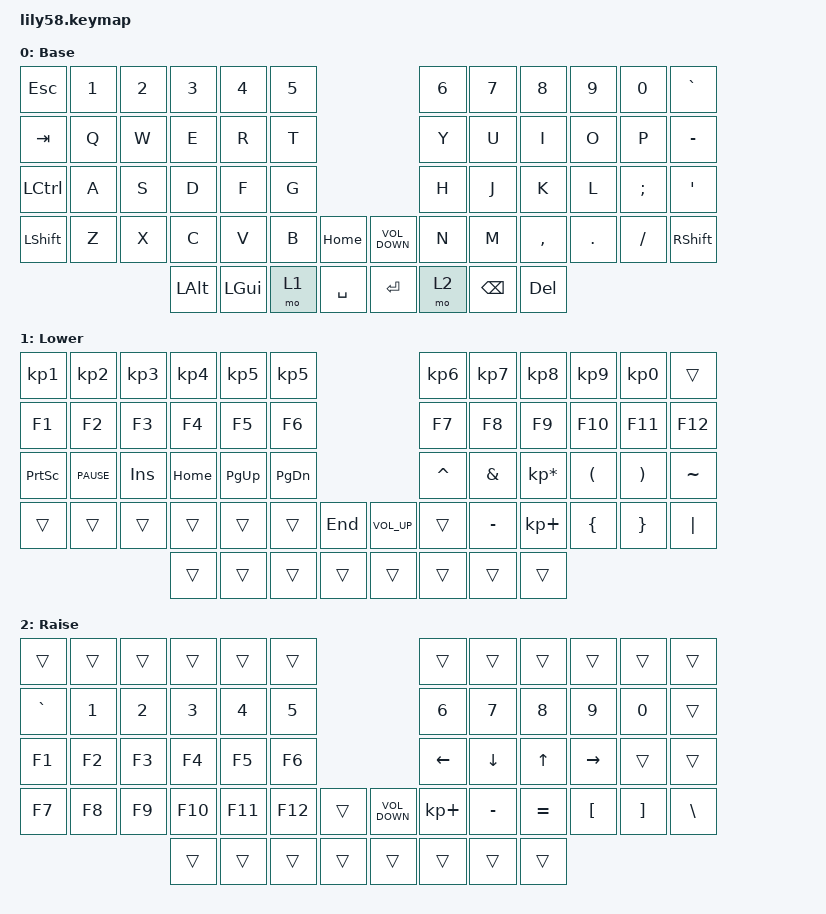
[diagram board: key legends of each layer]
/*
 * Copyright (c) 2020 The ZMK Contributors
 *
 * SPDX-License-Identifier: MIT
 */

#include <behaviors.dtsi>
#include <dt-bindings/zmk/keys.h>

/ {
    keymap {
        compatible = "zmk,keymap";

        default_layer {
            // ------------------------------------------------------------------------------------------------------------
            // |  ESC  |  1  |  2  |  3   |  4   |  5   |                   |  6   |  7    |  8    |  9   |   0   |   `   |
            // |  TAB  |  Q  |  W  |  E   |  R   |  T   |                   |  Y   |  U    |  I    |  O   |   P   |   -   |
            // |  CTRL |  A  |  S  |  D   |  F   |  G   |                   |  H   |  J    |  K    |  L   |   ;   |   '   |
            // | SHIFT |  Z  |  X  |  C   |  V   |  B   |   "["  |  |  "]"  |  N   |  M    |  ,    |  .   |   /   | SHIFT |
            //                     | ALT  | GUI  | LOWER|  SPACE |  | ENTER | RAISE| BSPC  | GUI   |

            display-name = "Base";
            bindings = <
&kp ESC    &kp N1  &kp N2  &kp N3    &kp N4    &kp N5                                  &kp N6  &kp N7    &kp N8      &kp N9   &kp N0    &kp GRAVE
&kp TAB    &kp Q   &kp W   &kp E     &kp R     &kp T                                   &kp Y   &kp U     &kp I       &kp O    &kp P     &kp MINUS
&kp LCTRL  &kp A   &kp S   &kp D     &kp F     &kp G                                   &kp H   &kp J     &kp K       &kp L    &kp SEMI  &kp SQT
&kp LSHFT  &kp Z   &kp X   &kp C     &kp V     &kp B   &kp HOME     &kp K_VOLUME_DOWN  &kp N   &kp M     &kp COMMA   &kp DOT  &kp FSLH  &kp RSHFT
                           &kp LALT  &kp LGUI  &mo 1   &kp SPACE    &kp RET            &mo 2   &kp BSPC  &kp DELETE
            >;
        };

        lower_layer {
            // ------------------------------------------------------------------------------------------------------------
            // | BTCLR | BT1 | BT2 |  BT3 |  BT4 |  BT5 |                   |      |       |       |      |       |       |
            // |  F1   |  F2 |  F3 |  F4  |  F5  |  F6  |                   |  F7  |  F8   |  F9   |  F10 |  F11  |  F12  |
            // |   `   |  !  |  @  |  #   |  $   |  %   |                   |  ^   |  &    |  *    |  (   |   )   |   ~   |
            // |       |     |     |      |      |      |        |  |       |      |  _    |  +    |  {   |   }   |  "|"  |
            //                     |      |      |      |        |  |       |      |       |       |

            display-name = "Lower";
            bindings = <
&kp KP_N1        &kp KP_N2    &kp KP_N3   &kp KP_NUMBER_4  &kp KP_N5    &kp KP_N5                                  &kp KP_N6  &kp KP_N7  &kp KP_N8        &kp KP_N9  &kp KP_N0  &trans
&kp F1           &kp F2       &kp F3      &kp F4           &kp F5       &kp F6                                     &kp F7     &kp F8     &kp F9           &kp F10    &kp F11    &kp F12
&kp PRINTSCREEN  &kp C_PAUSE  &kp INSERT  &kp HOME         &kp PAGE_UP  &kp PAGE_DOWN                              &kp CARET  &kp AMPS   &kp KP_MULTIPLY  &kp LPAR   &kp RPAR   &kp TILDE
&trans           &trans       &trans      &trans           &trans       &trans         &kp END    &kp K_VOLUME_UP  &trans     &kp MINUS  &kp KP_PLUS      &kp LBRC   &kp RBRC   &kp PIPE
                                          &trans           &trans       &trans         &trans     &trans           &trans     &trans     &trans
            >;
        };

        raise_layer {
            // ------------------------------------------------------------------------------------------------------------
            // |       |     |     |      |      |      |                   |      |       |       |      |       |       |
            // |   `   |  1  |  2  |  3   |  4   |  5   |                   |  6   |   7   |   8   |  9   |   0   |       |
            // |   F1  |  F2 |  F3 |  F4  |  F5  |  F6  |                   |      |   <-  |   v   |  ^   |  ->   |       |
            // |   F7  |  F8 |  F9 |  F10 |  F11 |  F12 |        |  |       |  +   |   -   |   =   |  [   |   ]   |   \   |
            //                     |      |      |      |        |  |       |      |       |       |

            display-name = "Raise";
            bindings = <
&trans     &trans  &trans  &trans   &trans   &trans                                &trans          &trans          &trans        &trans     &trans    &trans
&kp GRAVE  &kp N1  &kp N2  &kp N3   &kp N4   &kp N5                                &kp N6          &kp N7          &kp N8        &kp N9     &kp N0    &trans
&kp F1     &kp F2  &kp F3  &kp F4   &kp F5   &kp F6                                &kp LEFT_ARROW  &kp DOWN_ARROW  &kp UP_ARROW  &kp RIGHT  &trans    &trans
&kp F7     &kp F8  &kp F9  &kp F10  &kp F11  &kp F12  &trans    &kp K_VOLUME_DOWN  &kp KP_PLUS     &kp MINUS       &kp EQUAL     &kp LBKT   &kp RBKT  &kp BSLH
                           &trans   &trans   &trans   &trans    &trans             &trans          &trans          &trans
            >;
        };
    };
};
